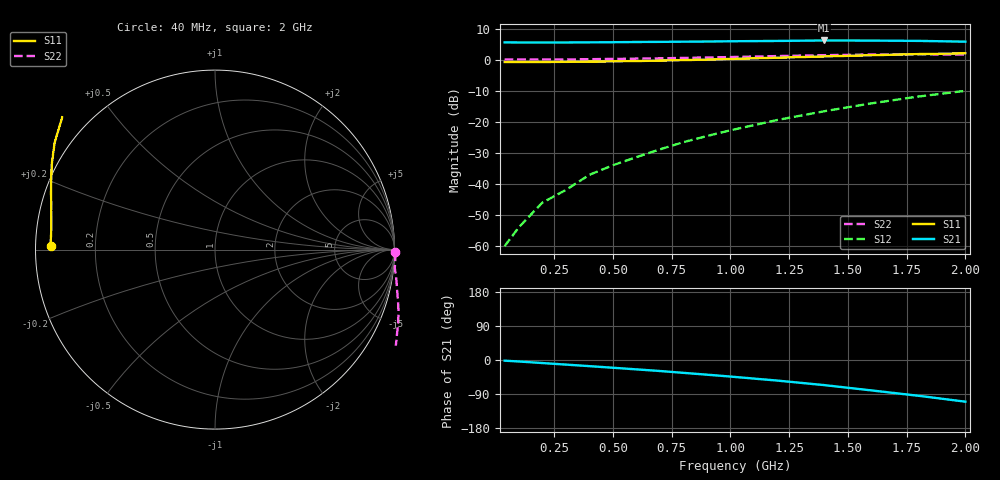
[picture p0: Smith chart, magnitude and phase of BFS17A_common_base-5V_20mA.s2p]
! Filename:  BFS17ACE.S2P  Version:  2.0
! Philips part #: BFS17A  Date: Jul 1990
! Bias condition: Vce=5V, Ic=20mA
! COMMON BASE
#  MHz  S  MA  R  50
! Freq  S11  S21  S12  S22
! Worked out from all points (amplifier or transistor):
!   16 points, 40 MHz to 2 GHz, reference 50 ohm
!   highest |S21| = 6.2 dB at 1.4 GHz (marker M1)
!   |S21| within 3 dB of that: start of sweep to end of sweep
!   unconditionally stable (mu >= 1): nowhere
!   at 200 MHz: K = -0.55, MSG = 25.8 dB, |S12| = -46.0 dB
!   at 800 MHz: K = -0.85, MSG = 16.2 dB, |S12| = -26.6 dB
!   at 2 GHz: K = -0.56, MSG = 7.9 dB, |S12| = -10.0 dB
40  0.916 178.8  1.892 -1.8  0.001 92.9  1.004 -0.9
100  0.917 177.2  1.89 -3.9  0.002 98.3  1.006 -1.7
200  0.917 174.6  1.889 -8.0  0.005 118.4  1.006 -3.9
300  0.921 171.9  1.889 -12.1  0.008 127.3  1.007 -5.9
400  0.928 169.4  1.897 -16.2  0.014 132.9  1.017 -7.9
500  0.938 166.6  1.906 -20.4  0.02 135.7  1.027 -10.0
600  0.949 164.0  1.922 -24.7  0.027 139.1  1.037 -12.1
700  0.965 161.2  1.932 -29.0  0.036 140.6  1.05 -14.3
800  0.982 158.4  1.944 -33.9  0.047 141.4  1.066 -16.7
900  1.002 155.5  1.955 -38.7  0.059 141.4  1.083 -19.3
1000  1.025 152.6  1.975 -43.7  0.073 141.5  1.1 -22.0
1200  1.074 146.3  1.999 -54.3  0.107 139.4  1.141 -28.0
1400  1.126 139.1  2.035 -66.3  0.148 135.3  1.18 -34.8
1600  1.177 130.9  2.024 -80.2  0.198 130.6  1.209 -42.8
1800  1.229 122.0  2.003 -94.4  0.255 123.7  1.221 -51.9
2000  1.263 113.0  1.945 -110.0  0.315 116.1  1.207 -62.3
